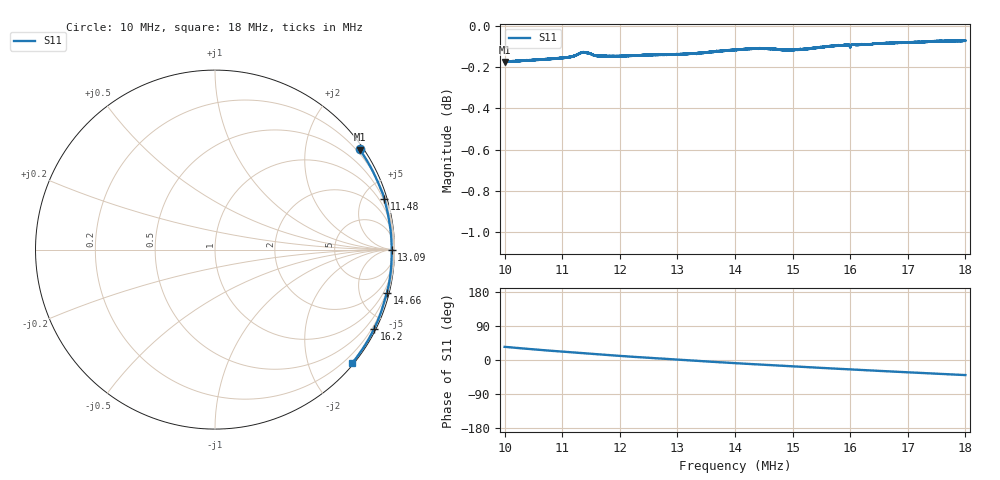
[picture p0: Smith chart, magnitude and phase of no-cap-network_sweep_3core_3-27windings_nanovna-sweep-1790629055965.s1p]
! NanoVNA Web complex sweep
! Processing: unaveraged complex samples; linear segment spacing; no smoothing
# Hz S RI R 50
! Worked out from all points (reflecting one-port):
!   10100 points, 10 MHz to 18 MHz, reference 50 ohm
!   lowest |S11| = -0.2 dB at 10.01 MHz (marker M1), VSWR 100.09, Z = 5.64 + j160 ohm
!   phase of S11 starts at 35 deg and turns -75 deg over the sweep
!   S11 on the Smith chart (normalised r, x): 10 MHz: 0.11, +3.19; 11.48 MHz: 0.37, +6.84; 13.09 MHz: open; 14.66 MHz: 0.43, -8.09; 16.2 MHz: 0.10, -4.26; 18 MHz: 0.03, -2.76
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1e7  0.8055 0.5588
1.00103e7  0.8066 0.557
1.00396e7  0.8107 0.5515
1.028591e7  0.8415 0.5041
1.050846e7  0.866 0.4615
1.074923e7  0.8895 0.4158
1.10003e7  0.9105 0.3686
1.133056e7  0.9358 0.3086
1.14755e7  0.9439 0.281
1.19998e7  0.9659 0.1853
1.223582e7  0.9731 0.144
1.247658e7  0.9787 0.1026
1.27229e7  0.9823 0.0607
1.30001e7  0.9842 0.0148
1.309197e7  0.9844 1.36e-05
1.356321e7  0.9829 -0.0746
1.39996e7  0.9766 -0.1423
1.43362e7  0.9687 -0.1928
1.466013e7  0.9577 -0.2398
1.49991e7  0.9445 -0.2854
1.555509e7  0.9213 -0.3588
1.59994e7  0.8972 -0.4146
1.620294e7  0.8867 -0.4399
1.661399e7  0.8616 -0.4886
1.69989e7  0.8361 -0.5318
1.760082e7  0.7931 -0.5954
1.795881e7  0.7654 -0.6309
1.799841e7  0.7623 -0.6347
